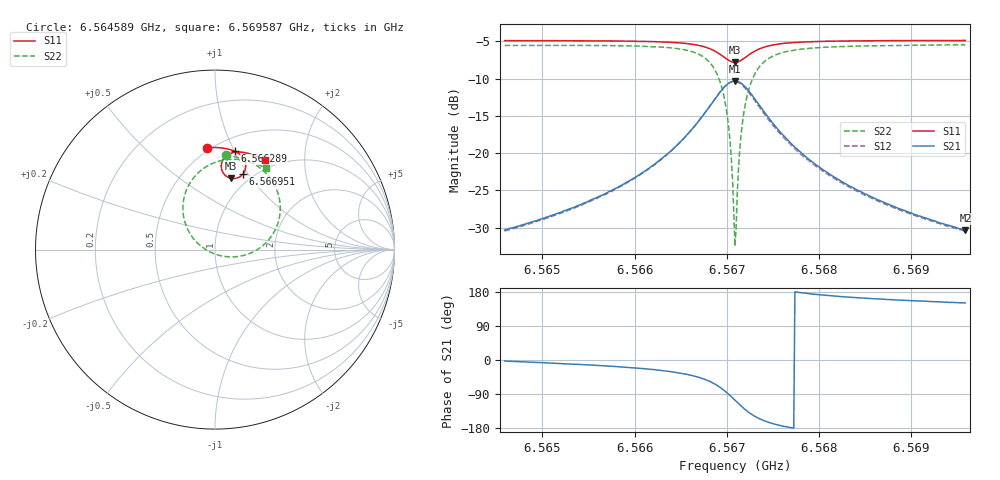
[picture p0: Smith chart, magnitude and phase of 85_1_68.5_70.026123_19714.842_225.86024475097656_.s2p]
#  HZ  S  RI  R  50.00
! Rohde & Schwarz Vector Network Analyzer
! Rohde-Schwarz,ZNB20-2Port,1311601062101988,3.16
! Created: UTC 3/20/2024, 4:52:18 PM
! freq[Hz]  re:S11  im:S11  re:S21  im:S21  re:S12  im:S12  re:S22  im:S22
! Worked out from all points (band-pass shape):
!   401 points, 6.564589 GHz to 6.569587 GHz, reference 50 ohm
!   highest |S21| = -10.30 dB at 6.567088 GHz (marker M1); lowest = -30.3 dB at 6.569587 GHz (marker M2)
!   |S21| within 3 dB of the highest: 6.566837 GHz to 6.567338 GHz (500.4 kHz wide, 0.00762 % of centre)
!   lowest |S11| = -7.8 dB at 6.567088 GHz (marker M3), VSWR 2.37, Z = 42.1 + j40.1 ohm
!   |S11| at or under -10 dB: nowhere
!   |S22| runs from -32.5 to -5.4 dB; largest |S21 - S12| = 0.015
!   S11 on the Smith chart (normalised r, x): 6.564589 GHz: 0.48, +0.80; 6.566289 GHz: 0.63, +1.00; 6.566951 GHz: 0.90, +0.95; 6.569587 GHz: 0.88, +1.30
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6.5645895e9  -0.0439 0.5677  0.0304 -0.00131  0.03 -0.00191  0.0589 0.5257
6.5654266e9  0.026 0.5675  0.0445 -0.00951  0.0438 -0.01  0.1423 0.5092
6.5662637e9  0.1077 0.549  0.0795 -0.0402  0.0781 -0.041  0.2632 0.4447
6.5662887e9  0.1106 0.5476  0.0812 -0.0423  0.0799 -0.0432  0.2681 0.4407
6.5665511e9  0.1429 0.5265  0.1031 -0.0781  0.1015 -0.0797  0.3264 0.3699
6.566751e9  0.1669 0.4911  0.1165 -0.1403  0.1137 -0.1434  0.3632 0.2495
6.5668635e9  0.1706 0.4561  0.1044 -0.2023  0.0991 -0.2064  0.3449 0.1313
6.5669509e9  0.1563 0.4219  0.0625 -0.2607  0.0528 -0.2642  0.2668 0.0223
6.5670134e9  0.1307 0.4018  0.00456 -0.2928  -0.0084 -0.2931  0.1585 -0.0328
6.5670384e9  0.117 0.3973  -0.0245 -0.2986  -0.0383 -0.2967  0.1052 -0.0406
6.5670759e9  0.0948 0.3963  -0.0705 -0.2969  -0.0845 -0.2911  0.0225 -0.032
6.5670884e9  0.0874 0.3975  -0.086 -0.2931  -0.0996 -0.2862  -0.00425 -0.0234
6.5671009e9  0.0802 0.3997  -0.101 -0.288  -0.1138 -0.2797  -0.0298 -0.012
6.5671134e9  0.0733 0.4026  -0.115 -0.2811  -0.1273 -0.272  -0.0538 0.00189
6.5671384e9  0.0608 0.4105  -0.1405 -0.2642  -0.1512 -0.2532  -0.0964 0.0351
6.5671758e9  0.0465 0.426  -0.1703 -0.2323  -0.1778 -0.2197  -0.1433 0.0958
6.5672258e9  0.0364 0.4497  -0.1927 -0.1856  -0.196 -0.1725  -0.1744 0.1811
6.5672883e9  0.036 0.4772  -0.1986 -0.132  -0.1981 -0.1207  -0.1752 0.2752
6.5675132e9  0.0738 0.5296  -0.1521 -0.0297  -0.1486 -0.0249  -0.0708 0.447
6.5679255e9  0.1369 0.5435  -0.087 0.0092  -0.0849 0.0104  0.0725 0.5022
6.5687626e9  0.2185 0.5256  -0.0423 0.0158  -0.0414 0.0161  0.2046 0.4872
6.5695873e9  0.2811 0.4971  -0.0265 0.015  -0.0259 0.0151  0.2817 0.454
